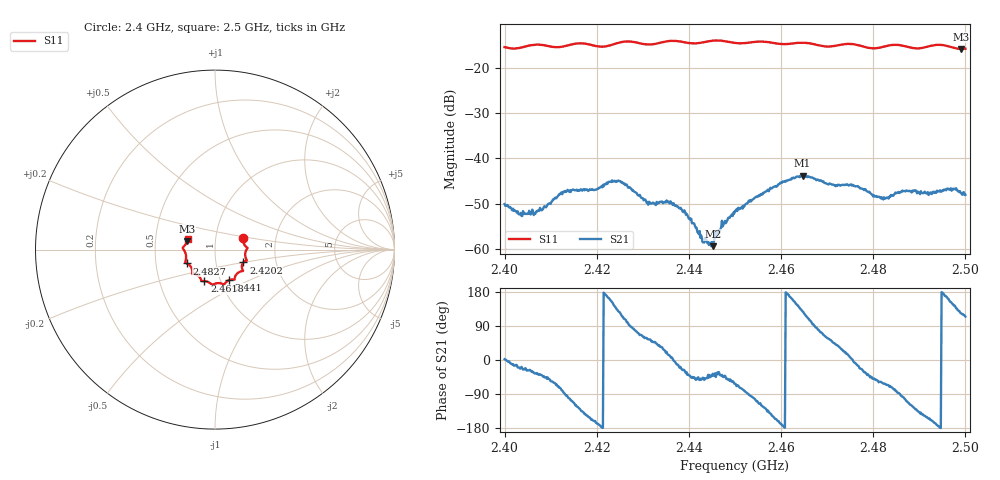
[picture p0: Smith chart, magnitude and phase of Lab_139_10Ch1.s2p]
# Hz S RI R 50
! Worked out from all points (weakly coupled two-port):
!   601 points, 2.4 GHz to 2.5 GHz, reference 50 ohm
!   highest |S21| = -43.82 dB at 2.4647 GHz (marker M1); lowest = -59.4 dB at 2.4452 GHz (marker M2)
!   lowest |S11| = -15.8 dB at 2.499 GHz (marker M3), VSWR 1.39, Z = 36.4 + j3.48 ohm
!   |S11| at or under -10 dB: start of sweep to end of sweep
!   S12 and S22 are empty: the file has one direction only
!   S11 on the Smith chart (normalised r, x): 2.4 GHz: 1.36, +0.18; 2.4202 GHz: 1.36, -0.20; 2.441 GHz: 1.10, -0.39; 2.4618 GHz: 0.84, -0.30; 2.4827 GHz: 0.72, -0.12; 2.5 GHz: 0.73, +0.09
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2.4e9  0.158 0.0626  0.00314 0.000116  0 0  0 0
2.403333e9  0.1652 0.0249  0.00223 -0.000933  0 0  0 0
2.406833e9  0.1809 0.00963  0.0021 -0.00152  0 0  0 0
2.412667e9  0.1687 -0.036  0.000473 -0.00424  0 0  0 0
2.416667e9  0.1772 -0.0606  -0.0032 -0.00321  0 0  0 0
2.420167e9  0.1582 -0.0713  -0.00452 -0.000994  0 0  0 0
2.425e9  0.1544 -0.1133  -0.00326 0.00455  0 0  0 0
2.430667e9  0.1299 -0.1284  0.00181 0.0029  0 0  0 0
2.433333e9  0.1116 -0.1508  0.00254 0.00201  0 0  0 0
2.437167e9  0.1075 -0.1675  0.00301 -0.000436  0 0  0 0
2.441e9  0.0785 -0.1697  0.00134 -0.00139  0 0  0 0
2.443e9  0.0611 -0.1818  0.00081 -0.000863  0 0  0 0
2.445167e9  0.0518 -0.1935  0.000867 -0.000633  0 0  0 0
2.45e9  0.0283 -0.1872  0.00122 -0.00234  0 0  0 0
2.461833e9  -0.0595 -0.1754  -0.0057 0.00127  0 0  0 0
2.464667e9  -0.0754 -0.1745  -0.00398 0.00506  0 0  0 0
2.466667e9  -0.0783 -0.1681  -0.000884 0.0061  0 0  0 0
2.482667e9  -0.156 -0.0773  0.00163 -0.00322  0 0  0 0
2.483333e9  -0.1603 -0.0753  0.00142 -0.00332  0 0  0 0
2.486833e9  -0.1633 -0.0612  -0.000981 -0.00426  0 0  0 0
2.499e9  -0.1553 0.0465  -0.00229 0.00345  0 0  0 0
2.5e9  -0.152 0.0608  -0.00165 0.00361  0 0  0 0
